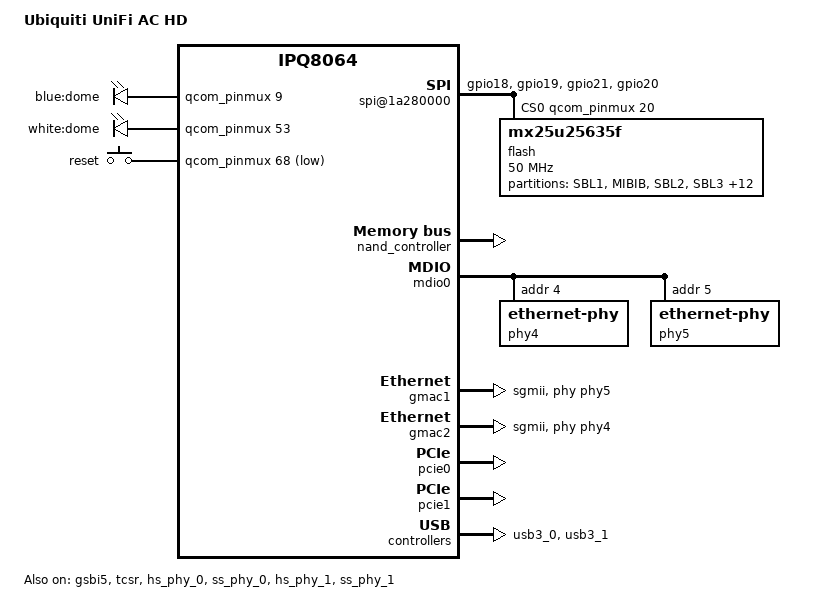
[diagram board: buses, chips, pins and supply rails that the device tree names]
// SPDX-License-Identifier: GPL-2.0-or-later OR MIT

#include "qcom-ipq8064-v2.0.dtsi"

#include <dt-bindings/gpio/gpio.h>
#include <dt-bindings/input/input.h>

/ {
	model = "Ubiquiti UniFi AC HD";
	compatible = "ubnt,unifi-ac-hd", "qcom,ipq8064";

	aliases {
		label-mac-device = &gmac2;
		led-boot = &led_dome_white;
		led-failsafe = &led_dome_white;
		led-running = &led_dome_blue;
		led-upgrade = &led_dome_blue;
		mdio-gpio0 = &mdio0;
		ethernet0 = &gmac2;
		ethernet1 = &gmac1;
	};

	leds {
		compatible = "gpio-leds";
		pinctrl-0 = <&led_pins>;
		pinctrl-names = "default";

		led_dome_blue: dome_blue {
			label = "blue:dome";
			gpios = <&qcom_pinmux 9 GPIO_ACTIVE_HIGH>;
		};

		led_dome_white: dome_white {
			label = "white:dome";
			gpios = <&qcom_pinmux 53 GPIO_ACTIVE_HIGH>;
		};
	};

	keys {
		compatible = "gpio-keys";
		pinctrl-0 = <&button_pins>;
		pinctrl-names = "default";

		reset {
			label = "reset";
			gpios = <&qcom_pinmux 68 GPIO_ACTIVE_LOW>;
			linux,code = <KEY_RESTART>;
			debounce-interval = <60>;
			wakeup-source;
		};
	};
};

&qcom_pinmux {
	button_pins: button_pins {
		mux {
			pins = "gpio68";
			function = "gpio";
			drive-strength = <2>;
			bias-pull-up;
		};
	};

	led_pins: led_pins {
		mux {
			pins = "gpio9", "gpio53";
			function = "gpio";
			drive-strength = <2>;
			bias-pull-down;
			output-low;
		};
	};

	spi_pins: spi_pins {
		mux {
			pins = "gpio18", "gpio19", "gpio21";
			function = "gsbi5";
			drive-strength = <10>;
			bias-none;
		};

		cs {
			pins = "gpio20";
			drive-strength = <12>;
		};
	};
};

&CPU_SPC {
	status = "disabled";
};

&gsbi5 {
	status = "okay";

	qcom,mode = <GSBI_PROT_SPI>;

	spi@1a280000 {
		status = "okay";

		pinctrl-0 = <&spi_pins>;
		pinctrl-names = "default";
		cs-gpios = <&qcom_pinmux 20 0>;

		flash@0 {
			compatible = "mx25u25635f", "jedec,spi-nor";
			#address-cells = <1>;
			#size-cells = <1>;
			spi-max-frequency = <50000000>;
			reg = <0>;
			m25p,fast-read;

			partitions {
				compatible = "fixed-partitions";
				#address-cells = <1>;
				#size-cells = <1>;

				partition@0 {
					label = "SBL1";
					reg = <0x0 0x20000>;
					read-only;
				};

				partition@20000 {
					label = "MIBIB";
					reg = <0x20000 0x10000>;
					read-only;
				};

				partition@30000 {
					label = "SBL2";
					reg = <0x30000 0x20000>;
					read-only;
				};

				partition@50000 {
					label = "SBL3";
					reg = <0x50000 0x30000>;
					read-only;
				};

				partition@80000 {
					label = "DDRCONFIG";
					reg = <0x80000 0x10000>;
					read-only;
				};

				partition@90000 {
					label = "SSD";
					reg = <0x90000 0x10000>;
					read-only;
				};

				partition@a0000 {
					label = "TZ";
					reg = <0xa0000 0x30000>;
					read-only;
				};

				partition@d0000 {
					label = "RPM";
					reg = <0xd0000 0x20000>;
					read-only;
				};

				partition@f0000 {
					label = "APPSBL";
					reg = <0xf0000 0xc0000>;
					read-only;
				};

				partition@1b0000 {
					label = "APPSBLENV";
					reg = <0x1b0000 0x10000>;
					read-only;
				};

				eeprom: partition@1c0000 {
					label = "EEPROM";
					reg = <0x1c0000 0x10000>;
					read-only;
				};

				partition@1d0000 {
					label = "bootselect";
					reg = <0x1d0000 0x10000>;
				};

				partition@1e0000 {
					compatible = "denx,fit";
					label = "firmware";
					reg = <0x1e0000 0xe70000>;
				};

				partition@1050000 {
					label = "kernel1";
					reg = <0x1050000 0xe70000>;
					read-only;
				};

				partition@1ec0000 {
					label = "debug";
					reg = <0x1ec0000 0x100000>;
					read-only;
				};

				partition@1fc0000 {
					label = "cfg";
					reg = <0x1fc0000 0x40000>;
					read-only;
				};
			};
		};
	};
};

&adm_dma {
	status = "okay";
};

&nand_controller {
	status = "okay";

	pinctrl-0 = <&nand_pins>;
	pinctrl-names = "default";
	nand-ecc-strength = <4>;
	nand-bus-width = <8>;
};

&mdio0 {
	status = "okay";

	pinctrl-0 = <&mdio0_pins>;
	pinctrl-names = "default";

	phy4: ethernet-phy@4 {
		reg = <4>;
	};

	phy5: ethernet-phy@5 {
		reg = <5>;
	};
};

&gmac1 {
	status = "okay";

	mdiobus = <&mdio0>;
	phy-handle = <&phy5>;
	phy-mode = "sgmii";
	qcom,id = <1>;

	mtd-mac-address = <&eeprom 0x6>;
};

&gmac2 {
	status = "okay";

	mdiobus = <&mdio0>;
	phy-handle = <&phy4>;
	phy-mode = "sgmii";
	qcom,id = <2>;

	mtd-mac-address = <&eeprom 0x0>;
};

&pcie0 {
	status = "okay";
};

&pcie1 {
	status = "okay";
};

&tcsr {
	status = "okay";
};

&hs_phy_0 {
	status = "okay";
};

&ss_phy_0 {
	status = "okay";
};

&usb3_0 {
	status = "okay";
};

&hs_phy_1 {
	status = "okay";
};

&ss_phy_1 {
	status = "okay";
};

&usb3_1 {
	status = "okay";
};
